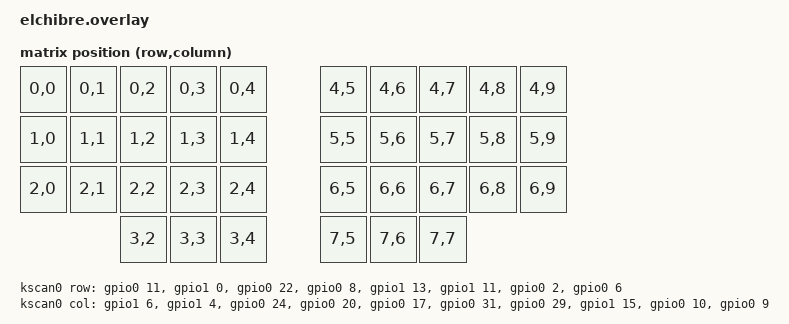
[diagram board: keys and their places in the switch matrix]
#include <dt-bindings/zmk/matrix_transform.h>

/ {
    chosen {
        zmk,kscan = &kscan0;
        zmk,physical-layout = &physical_layout0;
    };

    kscan0: kscan0 {
        compatible = "zmk,kscan-gpio-matrix";
        diode-direction = "col2row";
        wakeup-source;

       col-gpios
        = <&gpio1 6  GPIO_ACTIVE_HIGH> //left COL0
        , <&gpio1 4  GPIO_ACTIVE_HIGH> //left COL1
        , <&gpio0 24 GPIO_ACTIVE_HIGH> //left COL2
        , <&gpio0 20 GPIO_ACTIVE_HIGH> //left COL3
        , <&gpio0 17 GPIO_ACTIVE_HIGH> //left COL4

        , <&gpio0 31 GPIO_ACTIVE_HIGH> //right COL5
        , <&gpio0 29 GPIO_ACTIVE_HIGH> //right COL6
        , <&gpio1 15 GPIO_ACTIVE_HIGH> //right COL7
        , <&gpio0 10 GPIO_ACTIVE_HIGH> //right COL8
        , <&gpio0 9  GPIO_ACTIVE_HIGH> //right COL9
        ;

    row-gpios
        = <&gpio0 11 (GPIO_ACTIVE_HIGH | GPIO_PULL_DOWN)> //left ROW0
        , <&gpio1 0  (GPIO_ACTIVE_HIGH | GPIO_PULL_DOWN)> //left ROW1
        , <&gpio0 22 (GPIO_ACTIVE_HIGH | GPIO_PULL_DOWN)> //left ROW2
        , <&gpio0 8  (GPIO_ACTIVE_HIGH | GPIO_PULL_DOWN)> //left ROW3

        , <&gpio1 13 (GPIO_ACTIVE_HIGH | GPIO_PULL_DOWN)> //right ROW0
        , <&gpio1 11 (GPIO_ACTIVE_HIGH | GPIO_PULL_DOWN)> //right ROW1
        , <&gpio0 2  (GPIO_ACTIVE_HIGH | GPIO_PULL_DOWN)> //right ROW2
        , <&gpio0 6  (GPIO_ACTIVE_HIGH | GPIO_PULL_DOWN)> //right ROW3
        ;
    };

    default_transform: keymap_transform0 {
        compatible = "zmk,matrix-transform";
        columns = <10>;
        rows = <4>;
        map = <
          RC(0,0) RC(0,1) RC(0,2) RC(0,3) RC(0,4)         RC(4,5) RC(4,6) RC(4,7) RC(4,8) RC(4,9)
          RC(1,0) RC(1,1) RC(1,2) RC(1,3) RC(1,4)         RC(5,5) RC(5,6) RC(5,7) RC(5,8) RC(5,9)
          RC(2,0) RC(2,1) RC(2,2) RC(2,3) RC(2,4)         RC(6,5) RC(6,6) RC(6,7) RC(6,8) RC(6,9)
                RC(3,2) RC(3,3) RC(3,4)         RC(7,5) RC(7,6) RC(7,7)
        >;
    };

    physical_layout0: physical_layout_0 {
        compatible = "zmk,physical-layout";
        display-name = "Default Layout";
        kscan = <&kscan0>;
        transform = <&default_transform>;
    };
};
